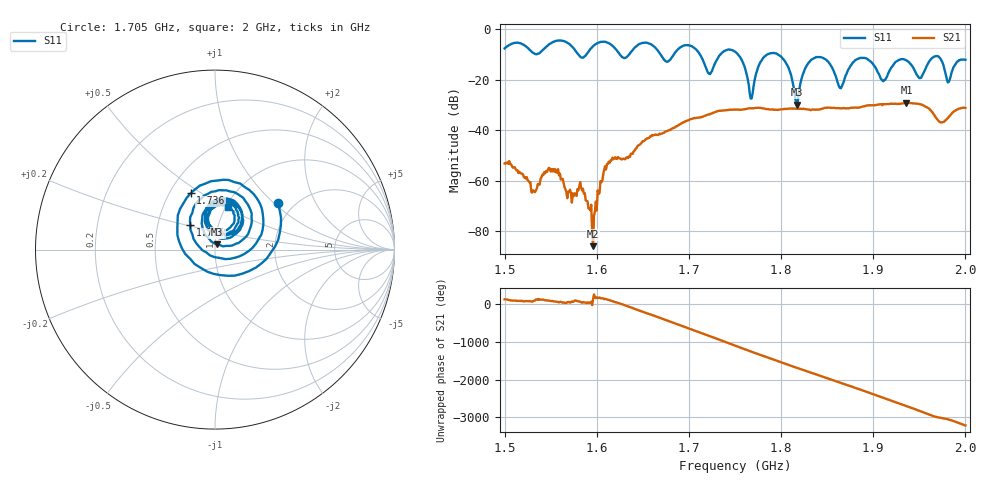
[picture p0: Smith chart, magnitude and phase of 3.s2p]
! NanoVNA-App by SYSJOINT et al v1.1.209 (+OD18)
! Date: 2026-01-21 14:42:30
! Start: 1,5GHz Stop: 2GHz Points: 501
! S-Parameter data: F S11 S21 S12 S22
# Hz S RI R 50
!  Frequency  S11_Real  S11_Imag  S21_Real  S21_Imag  S12_Real  S12_Imag  S22_Real  S22_Imag
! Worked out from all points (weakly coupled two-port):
!   501 points, 1.5 GHz to 2 GHz, reference 50 ohm
!   highest |S21| = -29.14 dB at 1.936 GHz (marker M1); lowest = -85.9 dB at 1.596 GHz (marker M2)
!   lowest |S11| = -29.9 dB at 1.817 GHz (marker M3), VSWR 1.07, Z = 51.1 + j3.04 ohm
!   |S11| at or under -10 dB: 1.712 GHz to 1.734 GHz (22.5 MHz wide, 1.31 % of centre); 1.753 GHz to 1.785 GHz (32.17 MHz wide, 1.82 % of centre); 1.796 GHz to end of sweep (the widest 3 of 6)
!   S12 and S22 are empty: the file has one direction only
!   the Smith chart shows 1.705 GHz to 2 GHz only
!   S11 on the Smith chart (normalised r, x): 1.705 GHz: 1.67, +1.06; 1.736 GHz: 0.64, +0.45; 1.776 GHz: 0.73, +0.21; 2 GHz: 1.02, +0.51
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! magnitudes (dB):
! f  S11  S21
! 1.5 GHz  -7.6  -53.2
! 1.531 GHz  -9.4  -63.8
! 1.549 GHz  -5.8  -55.2
! 1.584 GHz  -11.3  -63.8
! 1.596 GHz  -6.8  -85.9
! 1.613 GHz  -5.5  -52.5
! 1.667 GHz  -8.9  -41.8
! 1.705 GHz  -7.2  -35.3
! 1.722 GHz  -17.7  -33.8
! 1.736 GHz  -9.3  -32.3
! 1.75 GHz  -8.9  -31.9
! 1.767 GHz  -27.5  -31.4
! 1.776 GHz  -14.3  -31.1
! 1.8 GHz  -10.9  -31.8
! 1.817 GHz  -29.9  -31.6
! 1.834 GHz  -11.8  -31.8
! 1.864 GHz  -23.3  -31.4
! 1.885 GHz  -11.5  -31.0
! 1.917 GHz  -16.9  -29.7
! 1.936 GHz  -12.4  -29.1
! 1.982 GHz  -20.9  -34.8
! 2 GHz  -12.1  -31.2
